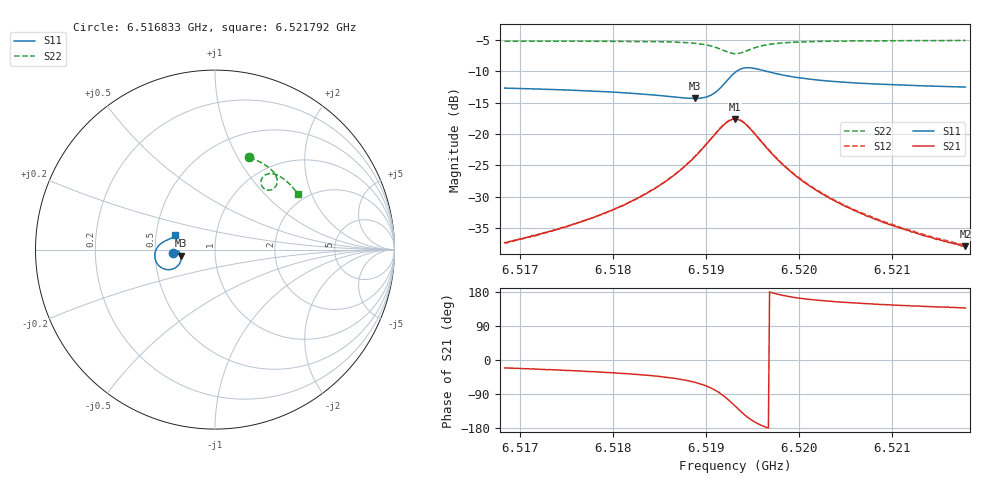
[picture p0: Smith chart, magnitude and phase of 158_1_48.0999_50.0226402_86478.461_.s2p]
#  HZ  S  RI  R  50.00
! Rohde & Schwarz Vector Network Analyzer
! Rohde-Schwarz,ZNB20-2Port,1311601062101988,3.16
! Created: UTC 12/23/2023, 3:50:28 AM
! freq[Hz]  re:S11  im:S11  re:S21  im:S21  re:S12  im:S12  re:S22  im:S22
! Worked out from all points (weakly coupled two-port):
!   401 points, 6.516833 GHz to 6.521792 GHz, reference 50 ohm
!   highest |S21| = -17.61 dB at 6.519312 GHz (marker M1); lowest = -37.9 dB at 6.521792 GHz (marker M2)
!   lowest |S11| = -14.3 dB at 6.518878 GHz (marker M3), VSWR 1.48, Z = 34 - j2.45 ohm
!   |S11| at or under -10 dB: start of sweep to 6.51933 GHz; 6.519649 GHz to end of sweep
!   |S22| runs from -7.2 to -5.1 dB; largest |S21 - S12| = 0.0041
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6.5168326e9  -0.2314 -0.0203  0.0127 -0.00487  0.0128 -0.00432  0.1914 0.5134
6.5172542e9  -0.2271 -0.0138  0.0149 -0.00689  0.0149 -0.00634  0.2226 0.5011
6.5176633e9  -0.2216 -0.00885  0.0175 -0.0098  0.0178 -0.00935  0.2529 0.4866
6.518122e9  -0.2128 -0.00607  0.0221 -0.0159  0.0226 -0.0154  0.2874 0.4659
6.5184939e9  -0.2026 -0.00986  0.0281 -0.0265  0.029 -0.0258  0.3161 0.4428
6.5187046e9  -0.1948 -0.0185  0.0323 -0.0386  0.0336 -0.0376  0.3321 0.4237
6.5188782e9  -0.1889 -0.0347  0.0342 -0.0562  0.0361 -0.0555  0.3436 0.4009
6.5189898e9  -0.1886 -0.0532  0.0312 -0.0742  0.0336 -0.0739  0.3467 0.3802
6.5190766e9  -0.1951 -0.0737  0.022 -0.093  0.025 -0.093  0.3427 0.3604
6.5192129e9  -0.2356 -0.1082  -0.0195 -0.1206  -0.0161 -0.122  0.312 0.3325
6.5192625e9  -0.2623 -0.1119  -0.0439 -0.1213  -0.0408 -0.1235  0.2931 0.3315
6.5193121e9  -0.2908 -0.1048  -0.0687 -0.1123  -0.066 -0.115  0.2744 0.3389
6.5193617e9  -0.3149 -0.0874  -0.0883 -0.0944  -0.0863 -0.0975  0.261 0.3541
6.5194237e9  -0.332 -0.0573  -0.1004 -0.0663  -0.0991 -0.0698  0.2559 0.3768
6.5195353e9  -0.3314 -0.00908  -0.0947 -0.0253  -0.0948 -0.0283  0.2698 0.4081
6.5196344e9  -0.3177 0.017  -0.0802 -0.0052  -0.0808 -0.00766  0.2899 0.4204
6.5198824e9  -0.2865 0.0438  -0.0512 0.0111  -0.052 0.00958  0.3306 0.4211
6.5201427e9  -0.2669 0.0534  -0.0351 0.0133  -0.0358 0.0124  0.3595 0.4093
6.5204899e9  -0.2514 0.06  -0.0237 0.0125  -0.0243 0.012  0.3878 0.3901
6.5209733e9  -0.2382 0.0674  -0.0157 0.0108  -0.0162 0.0106  0.4186 0.3616
6.5214197e9  -0.2295 0.0736  -0.0118 0.00956  -0.0121 0.00936  0.4428 0.3347
6.5217916e9  -0.2233 0.0787  -0.00934 0.00875  -0.00984 0.00858  0.4605 0.3117
